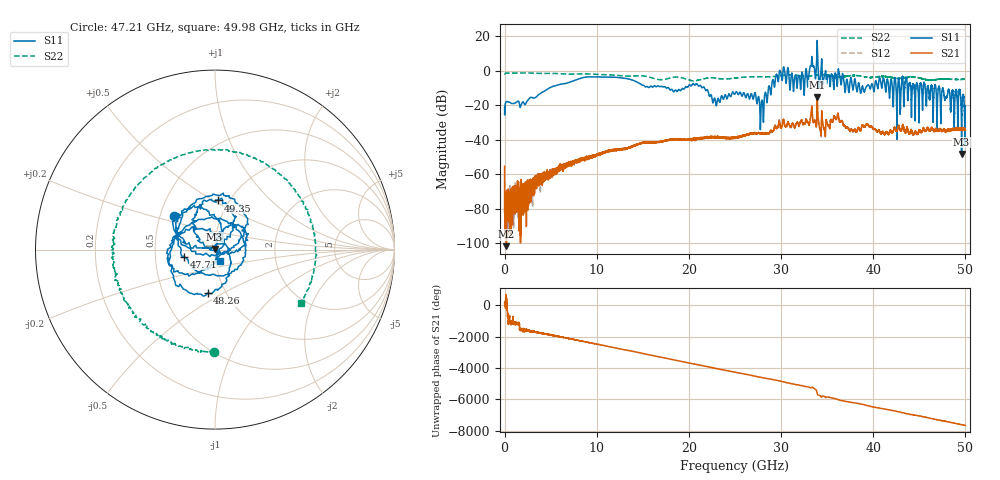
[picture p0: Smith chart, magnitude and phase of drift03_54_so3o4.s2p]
!Created with skrf (http://scikit-rf.org).
# Hz S RI R 50.0
!freq ReS11 ImS11 ReS21 ImS21 ReS12 ImS12 ReS22 ImS22
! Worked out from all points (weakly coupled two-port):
!   10001 points, 300 kHz to 50 GHz, reference 50 ohm
!   highest |S21| = -15.27 dB at 33.92 GHz (marker M1); lowest = -101.6 dB at 200.3 MHz (marker M2)
!   lowest |S11| = -48.2 dB at 49.59 GHz (marker M3), VSWR 1.01, Z = 49.8 + j0.308 ohm
!   |S11| at or under -10 dB: start of sweep to 4.85 GHz; 21.69 GHz to 28.62 GHz (6.933 GHz wide, 27.6 % of centre); 47.54 GHz to end of sweep (the widest 3 of 44)
!   |S22| runs from -5.9 to -1.3 dB; largest |S21 - S12| = 0.017
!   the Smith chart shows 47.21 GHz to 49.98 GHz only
!   S11 on the Smith chart (normalised r, x): 47.21 GHz: 0.59, +0.24; 47.71 GHz: 0.70, -0.06; 48.26 GHz: 0.82, -0.42; 49.35 GHz: 0.89, +0.53; 49.98 GHz: 1.05, -0.13
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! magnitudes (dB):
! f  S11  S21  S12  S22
! 300 kHz  -21.3  -55.3  -59.8  -2.0
! 200.3 MHz  -17.9  -101.6  -73.2  -1.4
! 8.335 GHz  -4.3  -51.7  -51.3  -1.9
! 16.67 GHz  -8.8  -41.2  -41.3  -5.2
! 21.01 GHz  -8.7  -39.4  -39.3  -5.5
! 22.81 GHz  -16.1  -38.7  -38.8  -4.2
! 25 GHz  -13.4  -38.5  -38.7  -4.3
! 27.02 GHz  -15.7  -36.1  -36.3  -3.5
! 27.92 GHz  -17.1  -36.5  -36.5  -3.5
! 29.69 GHz  -6.4  -32.1  -31.7  -3.1
! 32.32 GHz  -1.5  -30.4  -30.7  -3.2
! 33.34 GHz  8.2  -20.5  -20.8  -2.9
! 33.92 GHz  17.5  -15.3  -15.7  -2.5
! 38.82 GHz  -9.1  -31.5  -31.7  -3.3
! 41.67 GHz  -9.0  -36.8  -36.6  -3.7
! 47.21 GHz  -10.6  -33.5  -34.0  -4.9
! 47.71 GHz  -15.1  -34.3  -34.2  -4.8
! 48.26 GHz  -12.2  -33.9  -34.6  -5.0
! 49.35 GHz  -11.2  -34.1  -33.7  -5.1
! 49.59 GHz  -48.2  -34.0  -34.2  -5.1
! 49.98 GHz  -23.2  -34.1  -34.1  -5.0
! 50 GHz  -20.3  -34.2  -34.1  -5.0
